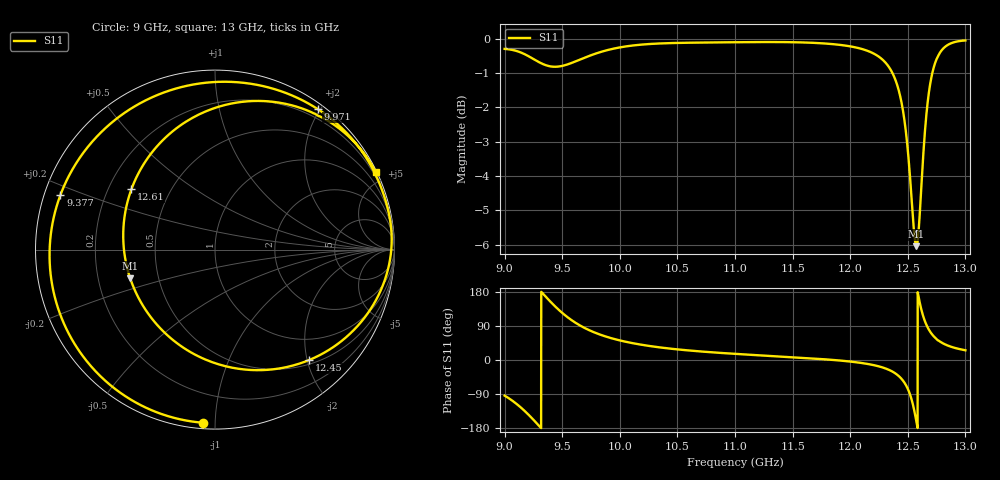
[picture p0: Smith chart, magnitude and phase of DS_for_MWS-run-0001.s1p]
! TOUCHSTONE file generated by CST DESIGN STUDIO
! Date and time: Tue Feb  4 12:44:37 2025
! Project name: C:\Work\MatlabApps\UnitCellOptimizationMatlab\CST\unitcell.cst
! Tree item: Tasks\Sweep1\SPara1\S-Parameters
! Header version: 2024
! Port assignment regex: !\s*Touchstone port\s*([0-9]+)\s*=\s*(CST MWS port|CST DES external port|CST DES block port)\s*(.+)\s* \(\"(.*)\"\)(\s*mode\s*([0-9]+))?.*
! Touchstone port assignment:
! Touchstone port 1 = CST DES external port 1 ("")
# GHz S MA R 50
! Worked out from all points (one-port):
!   4001 points, 9 GHz to 13 GHz, reference 50 ohm
!   lowest |S11| = -6.0 dB at 12.57 GHz (marker M1), VSWR 2.99, Z = 17.1 - j7.26 ohm
!   |S11| at or under -10 dB: nowhere
!   S11 on the Smith chart (normalised r, x): 9 GHz: 0.03, -0.93; 9.377 GHz: 0.05, +0.17; 9.971 GHz: 0.07, +1.97; 12.45 GHz: 0.57, -2.04; 12.61 GHz: 0.30, +0.30; 13 GHz: 0.05, +4.38
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9  0.9669 -94.0
9.09  0.9616 -112.6
9.17  0.9506 -133.3
9.278  0.9289 -166.8
9.377  0.9134 160.5
9.5  0.9132 124.3
9.579  0.922 105.7
9.672  0.9354 88.2
9.812  0.9544 68.9
9.971  0.9697 53.9
10  0.9717 51.7
10.5  0.9864 28.0
11  0.9888 16.2
11.5  0.9888 7.4
12  0.9751 -4.1
12.301  0.9255 -21.7
12.384  0.8787 -33.7
12.445  0.8086 -49.5
12.5  0.6885 -76.0
12.538  0.569 -109.8
12.574  0.4988 -161.4
12.609  0.5744 144.2
12.639  0.6961 110.6
12.669  0.7986 88.0
12.714  0.8933 66.4
12.763  0.9441 51.9
12.858  0.9822 36.8
13  0.9946 25.7
